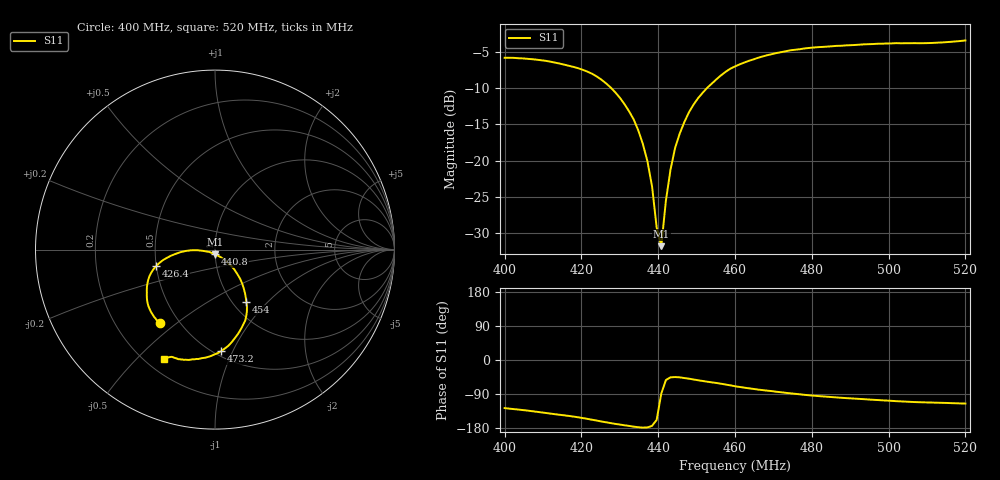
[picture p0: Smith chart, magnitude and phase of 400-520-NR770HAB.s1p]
# HZ S RI R 50
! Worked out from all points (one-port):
!   101 points, 400 MHz to 520 MHz, reference 50 ohm
!   lowest |S11| = -31.8 dB at 440.8 MHz (marker M1), VSWR 1.05, Z = 50 - j2.57 ohm
!   |S11| at or under -10 dB: 427.7 MHz to 452.7 MHz (24.98 MHz wide, 5.67 % of centre)
!   S11 on the Smith chart (normalised r, x): 400 MHz: 0.39, -0.44; 426.4 MHz: 0.50, -0.10; 440.8 MHz: 1.00, -0.05; 454 MHz: 1.16, -0.76; 473.2 MHz: 0.54, -0.90; 520 MHz: 0.27, -0.60
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4e8  -0.3065 -0.4086
4.096e8  -0.3663 -0.3266
4.156e8  -0.38 -0.2549
4.216e8  -0.3725 -0.1704
4.264e8  -0.328 -0.0918
4.3e8  -0.2673 -0.0455
4.336e8  -0.1919 -0.0141
4.348e8  -0.1616 -0.00728
4.36e8  -0.1302 -0.00358
4.372e8  -0.0987 -0.00343
4.384e8  -0.066 -0.00722
4.396e8  -0.032 -0.013
4.408e8  0.000566 -0.0257
4.42e8  0.0318 -0.0422
4.432e8  0.0603 -0.0619
4.444e8  0.0864 -0.0865
4.456e8  0.1071 -0.1097
4.48e8  0.1402 -0.1628
4.492e8  0.1516 -0.1897
4.54e8  0.1749 -0.2913
4.576e8  0.1739 -0.3708
4.6e8  0.1581 -0.4159
4.66e8  0.1057 -0.4995
4.732e8  0.0336 -0.5651
4.756e8  0.00815 -0.5796
4.9e8  -0.1214 -0.6113
5.056e8  -0.2245 -0.6031
5.2e8  -0.2842 -0.6091
